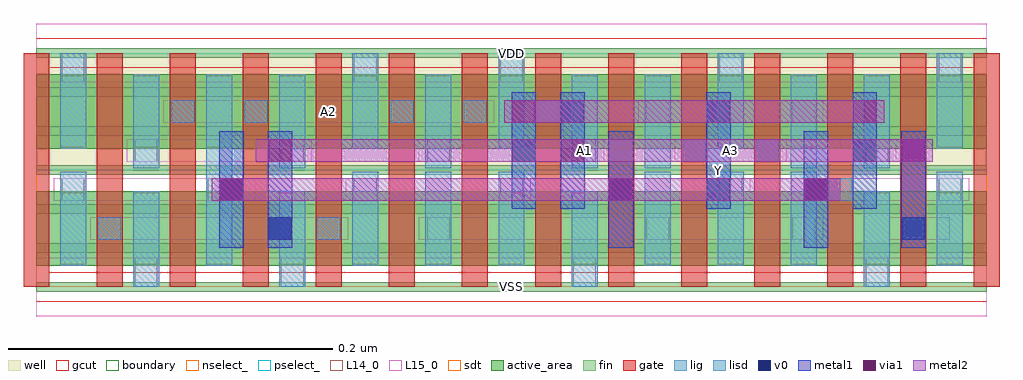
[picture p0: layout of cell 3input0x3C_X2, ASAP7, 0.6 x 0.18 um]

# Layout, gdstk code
import gdstk
lib = gdstk.Library(unit=1e-6, precision=2.5e-10)
def R(c, l, rs):  # rectangles x0, y0, x1, y1
    for r in rs: c.add(gdstk.rectangle(r[:2], r[2:], *l))
def A(c, l, x, y, w, h, nx, ny, dx, dy):  # array of equal rectangles
    R(c, l, [(x+i*dx, y+j*dy, x+i*dx+w, y+j*dy+h) for i in range(nx) for j in range(ny)])
def P(c, l, *ps):  # polygons
    for p in ps: c.add(gdstk.Polygon(p, *l))
well = (1, 0)
fin = (2, 0)
gate = (7, 0)
gcut = (10, 0)
active_area = (11, 0)
nselect_ = (12, 0)
pselect_ = (13, 0)
L14_0 = (14, 0)
L15_0 = (15, 0)
lig = (16, 0)
lisd = (17, 0)
v0 = (18, 0)
metal1 = (19, 0)
metal2 = (20, 0)
via1 = (21, 0)
sdt = (88, 0)
boundary = (100, 0)

c_3input0x3c_x2 = lib.new_cell('3input0x3C_X2')
R(c_3input0x3c_x2, well, [(0,0.072,0.585,0.144)])
A(c_3input0x3c_x2, fin, 0, -0.003, 0.585, 0.006, 1, 7, 0, 0.024)
A(c_3input0x3c_x2, gate, -0.008, 0, 0.016, 0.144, 14, 1, 0.045, 0)
P(c_3input0x3c_x2, gcut, [(0,-0.009),(0,0),(-0.008,0),(-0.008,0.135),(0.008,0.135),(0.008,0.009),(0.577,0.009),(0.577,0.135),(-0.008,0.135),(-0.008,0.144),(0,0.144),(0,0.153),(0.585,0.153),(0.585,0.144),(0.593,0.144),(0.593,0),(0.585,0),(0.585,-0.009)])
R(c_3input0x3c_x2, active_area, [(0,0.013,0.585,0.059), (0,0.085,0.585,0.131)])
R(c_3input0x3c_x2, nselect_, [(0,0,0.585,0.072)])
R(c_3input0x3c_x2, pselect_, [(0,0.072,0.585,0.144)])
A(c_3input0x3c_x2, L14_0, 0.1505, 0, 0.014, 0.018, 3, 1, 0.18, 0)
A(c_3input0x3c_x2, L14_0, 0.0155, 0.053, 0.014, 0.014, 4, 1, 0.09, 0)
A(c_3input0x3c_x2, L14_0, 0.353, 0.053, 0.014, 0.014, 4, 1, 0.0675, 0)
A(c_3input0x3c_x2, L14_0, 0.0605, 0.077, 0.014, 0.014, 4, 1, 0.09, 0)
A(c_3input0x3c_x2, L14_0, 0.218, 0.101, 0.014, 0.014, 3, 1, 0.045, 0)
A(c_3input0x3c_x2, L14_0, 0.2855, 0.126, 0.014, 0.018, 3, 1, 0.135, 0)
R(c_3input0x3c_x2, L14_0, [(0.0605,0,0.0745,0.018), (0.038,0.029,0.052,0.043), (0.173,0.029,0.187,0.043), (0.2405,0.029,0.2545,0.043), (0.3755,0.029,0.3895,0.043), (0.4655,0.029,0.4795,0.043), (0.533,0.029,0.547,0.043), (0.398,0.077,0.412,0.091), (0.443,0.077,0.457,0.091), (0.5105,0.077,0.5245,0.091), (0.083,0.101,0.097,0.115), (0.128,0.101,0.142,0.115), (0.3755,0.101,0.3895,0.115), (0.4655,0.101,0.4795,0.115), (0.0155,0.126,0.0295,0.144), (0.1955,0.126,0.2095,0.144)])
R(c_3input0x3c_x2, L15_0, [(0,-0.018,0.585,0.018), (0.033,0.029,0.192,0.043), (0.2355,0.029,0.4845,0.043), (0.525,0.029,0.5625,0.043), (0.0105,0.053,0.135,0.067), (0.1905,0.053,0.3045,0.067), (0.3375,0.053,0.375,0.067), (0.405,0.053,0.4395,0.067), (0.465,0.053,0.5745,0.067), (0.0555,0.077,0.1695,0.091), (0.2355,0.077,0.3495,0.091), (0.393,0.077,0.462,0.091), (0.495,0.077,0.5295,0.091), (0.078,0.101,0.282,0.115), (0.303,0.101,0.345,0.115), (0.3705,0.101,0.4845,0.115), (0,0.126,0.585,0.162)])
A(c_3input0x3c_x2, lig, 0.218, 0.101, 0.014, 0.014, 3, 1, 0.045, 0)
R(c_3input0x3c_x2, lig, [(0.038,0.029,0.052,0.043), (0.173,0.029,0.187,0.043), (0.533,0.029,0.547,0.043), (0.353,0.053,0.367,0.067), (0.488,0.053,0.502,0.067), (0.398,0.077,0.412,0.091), (0.443,0.077,0.457,0.091), (0.083,0.101,0.097,0.115), (0.128,0.101,0.142,0.115)])
A(c_3input0x3c_x2, lisd, 0.1495, 0, 0.016, 0.059, 3, 1, 0.18, 0)
A(c_3input0x3c_x2, lisd, 0.1945, 0.013, 0.016, 0.058, 3, 1, 0.045, 0)
A(c_3input0x3c_x2, lisd, 0.3745, 0.013, 0.016, 0.058, 3, 1, 0.045, 0)
A(c_3input0x3c_x2, lisd, 0.0595, 0.073, 0.016, 0.058, 4, 1, 0.09, 0)
A(c_3input0x3c_x2, lisd, 0.2845, 0.085, 0.016, 0.059, 3, 1, 0.135, 0)
R(c_3input0x3c_x2, lisd, [(0.0595,0,0.0755,0.059), (0.0145,0.013,0.0305,0.071), (0.1045,0.013,0.1205,0.131), (0.5545,0.013,0.5705,0.071), (0.3745,0.073,0.3905,0.131), (0.4645,0.073,0.4805,0.131), (0.5095,0.073,0.5255,0.131), (0.0145,0.085,0.0305,0.144), (0.1945,0.085,0.2105,0.144)])
A(c_3input0x3c_x2, v0, 0.353, 0.053, 0.014, 0.014, 3, 1, 0.06, 0)
R(c_3input0x3c_x2, v0, [(0.143,0.029,0.157,0.043), (0.533,0.029,0.547,0.043), (0.113,0.053,0.127,0.067), (0.293,0.077,0.307,0.091), (0.503,0.077,0.517,0.091), (0.323,0.101,0.337,0.115), (0.413,0.101,0.427,0.115)])
A(c_3input0x3c_x2, metal1, 0.3225, 0.048, 0.015, 0.072, 3, 1, 0.09, 0)
R(c_3input0x3c_x2, metal1, [(0.1125,0.024,0.1275,0.096), (0.1425,0.024,0.1575,0.096), (0.3525,0.024,0.3675,0.096), (0.4725,0.024,0.4875,0.096), (0.5325,0.024,0.5475,0.096), (0.2925,0.048,0.3075,0.12)])
R(c_3input0x3c_x2, metal2, [(0.108,0.053,0.495,0.067), (0.135,0.077,0.552,0.091), (0.288,0.101,0.522,0.115)])
R(c_3input0x3c_x2, via1, [(0.113,0.053,0.127,0.067), (0.353,0.053,0.367,0.067), (0.473,0.053,0.487,0.067), (0.143,0.077,0.157,0.091), (0.323,0.077,0.337,0.091), (0.533,0.077,0.547,0.091), (0.293,0.101,0.307,0.115), (0.503,0.101,0.517,0.115)])
A(c_3input0x3c_x2, sdt, 0.0145, 0.014, 0.016, 0.044, 13, 2, 0.045, 0.072)
R(c_3input0x3c_x2, boundary, [(0,0,0.585,0.144)])
c_3input0x3c_x2.add(gdstk.Label('A2', (0.18,0.108), layer=15, texttype=251))
c_3input0x3c_x2.add(gdstk.Label('VSS', (0.2925,0), layer=15, texttype=251))
c_3input0x3c_x2.add(gdstk.Label('VDD', (0.2925,0.144), layer=15, texttype=251))
c_3input0x3c_x2.add(gdstk.Label('A3', (0.4275,0.084), layer=15, texttype=251))
c_3input0x3c_x2.add(gdstk.Label('VSS', (0.2925,0), layer=15, texttype=251))
c_3input0x3c_x2.add(gdstk.Label('VDD', (0.2925,0.144), layer=15, texttype=251))
c_3input0x3c_x2.add(gdstk.Label('VSS', (0.2925,0), layer=15, texttype=251))
c_3input0x3c_x2.add(gdstk.Label('VDD', (0.2925,0.144), layer=15, texttype=251))
c_3input0x3c_x2.add(gdstk.Label('VSS', (0.2925,0), layer=15, texttype=251))
c_3input0x3c_x2.add(gdstk.Label('VDD', (0.2925,0.144), layer=15, texttype=251))
c_3input0x3c_x2.add(gdstk.Label('VSS', (0.2925,0), layer=3, texttype=251))
c_3input0x3c_x2.add(gdstk.Label('VSS', (0.2925,0), layer=3, texttype=251))
c_3input0x3c_x2.add(gdstk.Label('VSS', (0.2925,0), layer=3, texttype=251))
c_3input0x3c_x2.add(gdstk.Label('VSS', (0.2925,0), layer=3, texttype=251))
c_3input0x3c_x2.add(gdstk.Label('VDD', (0.2925,0.144), layer=1, texttype=251))
c_3input0x3c_x2.add(gdstk.Label('VDD', (0.2925,0.144), layer=1, texttype=251))
c_3input0x3c_x2.add(gdstk.Label('VDD', (0.2925,0.144), layer=1, texttype=251))
c_3input0x3c_x2.add(gdstk.Label('VDD', (0.2925,0.144), layer=1, texttype=251))
c_3input0x3c_x2.add(gdstk.Label('A1', (0.3375,0.084), layer=20, texttype=251))
c_3input0x3c_x2.add(gdstk.Label('Y', (0.42,0.072), layer=19, texttype=251))

lib.write_gds('3input0x3C_X2.gds')
